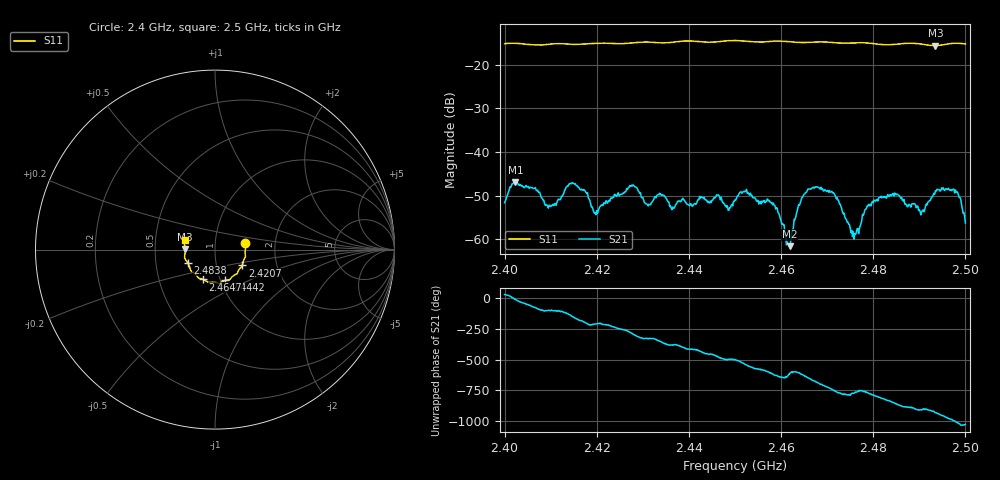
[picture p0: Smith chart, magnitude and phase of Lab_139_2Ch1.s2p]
# Hz S RI R 50
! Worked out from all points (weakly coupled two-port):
!   601 points, 2.4 GHz to 2.5 GHz, reference 50 ohm
!   highest |S21| = -46.91 dB at 2.4023 GHz (marker M1); lowest = -61.6 dB at 2.4618 GHz (marker M2)
!   lowest |S11| = -15.6 dB at 2.4935 GHz (marker M3), VSWR 1.40, Z = 35.8 + j0.142 ohm
!   |S11| at or under -10 dB: start of sweep to end of sweep
!   S12 and S22 are empty: the file has one direction only
!   S11 on the Smith chart (normalised r, x): 2.4 GHz: 1.40, +0.11; 2.4207 GHz: 1.33, -0.24; 2.4442 GHz: 1.05, -0.37; 2.4647 GHz: 0.83, -0.29; 2.4838 GHz: 0.73, -0.11; 2.5 GHz: 0.71, +0.08
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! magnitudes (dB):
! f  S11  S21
! 2.4 GHz  -15.2  -51.6
! 2.4023 GHz  -15.1  -46.9
! 2.4095 GHz  -15.3  -52.8
! 2.4167 GHz  -15.3  -48.5
! 2.4207 GHz  -15.1  -52.5
! 2.4275 GHz  -15.1  -47.6
! 2.431 GHz  -14.8  -52.0
! 2.4333 GHz  -15.0  -49.7
! 2.4442 GHz  -14.9  -51.3
! 2.45 GHz  -14.5  -51.0
! 2.4575 GHz  -14.7  -51.2
! 2.4618 GHz  -14.7  -61.6
! 2.4647 GHz  -14.9  -50.3
! 2.4667 GHz  -14.9  -48.3
! 2.4713 GHz  -14.9  -49.3
! 2.4757 GHz  -15.0  -58.3
! 2.4833 GHz  -15.5  -50.2
! 2.4838 GHz  -15.4  -49.8
! 2.4907 GHz  -15.3  -53.4
! 2.4935 GHz  -15.6  -48.9
! 2.4978 GHz  -15.1  -48.7
! 2.5 GHz  -15.2  -56.3
